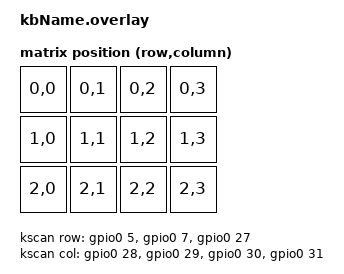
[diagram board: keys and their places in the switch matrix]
#include <dt-bindings/zmk/matrix_transform.h> 

/ {
    kscan: kscan {
    compatible = "zmk,kscan-gpio-matrix";
    diode-direction = "col2row";

    col-gpios
        = <&gpio0 28 (GPIO_ACTIVE_HIGH | GPIO_PULL_DOWN)>
        , <&gpio0 29 (GPIO_ACTIVE_HIGH | GPIO_PULL_DOWN)>
        , <&gpio0 30 (GPIO_ACTIVE_HIGH | GPIO_PULL_DOWN)>
        , <&gpio0 31 (GPIO_ACTIVE_HIGH | GPIO_PULL_DOWN)>
        ;

    row-gpios
        = <&gpio0 5 (GPIO_ACTIVE_HIGH)>
        , <&gpio0 7 (GPIO_ACTIVE_HIGH)>
        , <&gpio0 27 (GPIO_ACTIVE_HIGH)>
        ;
    };
    
    default_transform: matrix_transform {
        compatible = "zmk,matrix-transform";
        columns = <4>;
        rows = <3>;
        map = <
            RC(0,0) RC(0,1) RC(0,2) RC(0,3)
            RC(1,0) RC(1,1) RC(1,2) RC(1,3)
            RC(2,0) RC(2,1) RC(2,2) RC(2,3)
        >;
    };
    
    physical_layout: physical_layout { 
        compatible = "zmk,physical-layout";
        display-name = "Default Layout";
        transform = <&default_transform>; 
    };
    
    
    chosen {
        zmk,kscan = &kscan;
        zmk,physical-layout = &physical_layout;
    };
};
